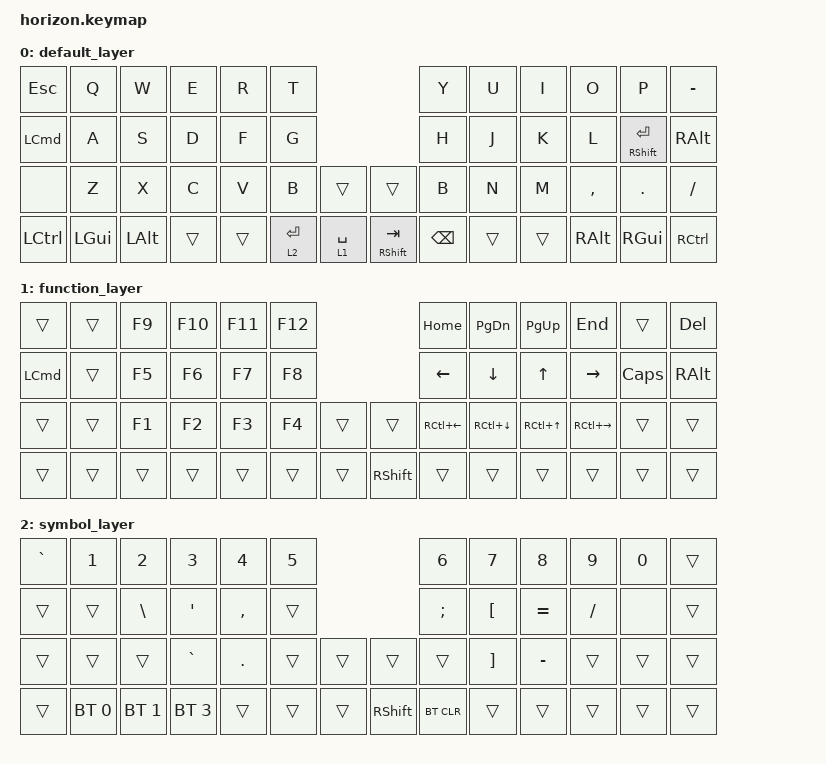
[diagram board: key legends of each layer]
/*
 * Copyright (c) 2021 The ZMK Contributors
 *
 * SPDX-License-Identifier: MIT
 */

#include <behaviors.dtsi>
#include <dt-bindings/zmk/bt.h>
#include <dt-bindings/zmk/keys.h>

#define DEF 0
#define SYM 1
#define FUN 2

&lt {
    tapping-term-ms = <180>;
    flavor = "tap-preferred";
};

/ {
    combos {
        compatible = "zmk,combos";

        comboESC {
            bindings = <&kp ESCAPE>;
            key-positions = <19 20>;
        };

        comboGUI {
            bindings = <&kp LCTRL>;
            key-positions = <15 16>;
        };
    };

    keymap {
        compatible = "zmk,keymap";

        default_layer {
            bindings = <
&kp ESCAPE        &kp Q     &kp W     &kp E   &kp R   &kp T                                    &kp Y          &kp U   &kp I   &kp O      &kp P                  &kp MINUS
&kp LEFT_COMMAND  &kp A     &kp S     &kp D   &kp F   &kp G                                    &kp H          &kp J   &kp K   &kp L      &mt RIGHT_SHIFT ENTER  &kp RIGHT_ALT
&none             &kp Z     &kp X     &kp C   &kp V   &kp B        &trans       &trans         &kp B          &kp N   &kp M   &kp COMMA  &kp PERIOD             &kp SLASH
&kp LCTRL         &kp LGUI  &kp LALT  &trans  &trans  &lt 2 ENTER  &lt 1 SPACE  &mt RSHFT TAB  &kp BACKSPACE  &trans  &trans  &kp RALT   &kp RGUI               &kp RCTRL
            >;
        };

        function_layer {
            bindings = <
&trans            &trans  &kp F9  &kp F10  &kp F11  &kp F12                     &kp HOME            &kp PAGE_DOWN  &kp PAGE_UP       &kp END        &trans        &kp DEL
&kp LEFT_COMMAND  &trans  &kp F5  &kp F6   &kp F7   &kp F8                      &kp LEFT            &kp DOWN       &kp UP_ARROW      &kp RIGHT      &kp CAPSLOCK  &kp RIGHT_ALT
&trans            &trans  &kp F1  &kp F2   &kp F3   &kp F4   &trans  &trans     &kp RC(LEFT_ARROW)  &kp RC(DOWN)   &kp RC(UP_ARROW)  &kp RC(RIGHT)  &trans        &trans
&trans            &trans  &trans  &trans   &trans   &trans   &trans  &kp RSHFT  &trans              &trans         &trans            &trans         &trans        &trans
            >;
        };

        symbol_layer {
            bindings = <
&kp GRAVE  &kp N1        &kp N2         &kp N3        &kp N4      &kp N5                     &kp N6         &kp N7             &kp N8     &kp N9     &kp N0  &trans
&trans     &trans        &kp BACKSLASH  &kp SQT       &kp COMMA   &trans                     &kp SEMICOLON  &kp LEFT_BRACKET   &kp EQUAL  &kp SLASH  &none   &trans
&trans     &trans        &trans         &kp GRAVE     &kp PERIOD  &trans  &trans  &trans     &trans         &kp RIGHT_BRACKET  &kp MINUS  &trans     &trans  &trans
&trans     &bt BT_SEL 0  &bt BT_SEL 1   &bt BT_SEL 3  &trans      &trans  &trans  &kp RSHFT  &bt BT_CLR     &trans             &trans     &trans     &trans  &trans
            >;
        };
    };
};
